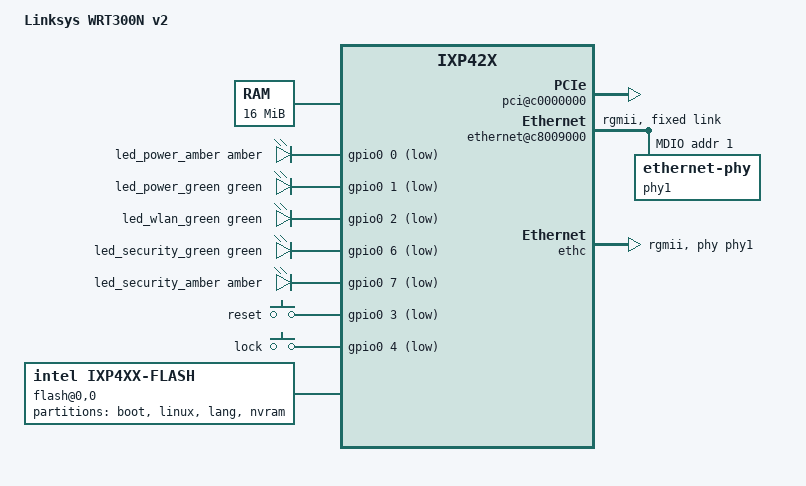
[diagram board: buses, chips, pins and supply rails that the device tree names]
// SPDX-License-Identifier: ISC
/*
 * Device Tree file for the IXP422-based Linksys WRT300N v2
 */

/dts-v1/;

#include "intel-ixp42x.dtsi"
#include <dt-bindings/input/input.h>
#include <dt-bindings/leds/common.h>

/ {
	model = "Linksys WRT300N v2";
	compatible = "linksys,wrt300v2", "intel,ixp42x";
	#address-cells = <1>;
	#size-cells = <1>;

	memory@0 {
		/* 16 MB SDRAM */
		device_type = "memory";
		reg = <0x00000000 0x01000000>;
	};

	chosen {
		bootargs = "console=ttyS0,115200n8";
		stdout-path = "uart1:115200n8";
	};

	aliases {
		/* These are switched around */
		serial0 = &uart1;
		serial1 = &uart0;
	};

	leds {
		compatible = "gpio-leds";
		led_power_amber: led-0 {
			color = <LED_COLOR_ID_AMBER>;
			function = LED_FUNCTION_POWER;
			gpios = <&gpio0 0 GPIO_ACTIVE_LOW>;
			default-state = "off";
		};
		led_power_green: led-1 {
			color = <LED_COLOR_ID_GREEN>;
			function = LED_FUNCTION_POWER;
			gpios = <&gpio0 1 GPIO_ACTIVE_LOW>;
			default-state = "on";
		};
		led_wlan_green: led-2 {
			color = <LED_COLOR_ID_GREEN>;
			function = LED_FUNCTION_WLAN;
			gpios = <&gpio0 2 GPIO_ACTIVE_LOW>;
			default-state = "off";
			linux,default-trigger = "phy0tx";
		};
		/* 3, 4 not used for LED */
		led_security_green: led-6 {
			color = <LED_COLOR_ID_GREEN>;
			function = LED_FUNCTION_WPS;
			gpios = <&gpio0 6 GPIO_ACTIVE_LOW>;
			default-state = "off";
		};
		led_security_amber: led-7 {
			color = <LED_COLOR_ID_AMBER>;
			function = LED_FUNCTION_WPS;
			gpios = <&gpio0 7 GPIO_ACTIVE_LOW>;
			default-state = "off";
		};
		/* 8, 9, 10, 11, 12, 13, 14, 15 not used for LED */
	};

	gpio_keys {
		compatible = "gpio-keys";

		button-reset {
			wakeup-source;
			linux,code = <KEY_RESTART>;
			label = "reset";
			gpios = <&gpio0 3 GPIO_ACTIVE_LOW>;
		};
		/*
		 * Turn on wireless security, I guess from way back when it
		 * wasn't compulsory.
		 */
		button-lock {
			wakeup-source;
			linux,code = <KEY_WLAN>;
			label = "lock";
			gpios = <&gpio0 4 GPIO_ACTIVE_LOW>;
		};
	};

	soc {
		bus@c4000000 {
			flash@0,0 {
				compatible = "intel,ixp4xx-flash", "cfi-flash";
				bank-width = <2>;
				/*
				 * 4 MB of Flash in 64 0x10000 sized blocks
				 * mapped in at CS0.
				 */
				reg = <0 0x00000000 0x400000>;

				/* Configure expansion bus to allow writes */
				intel,ixp4xx-eb-write-enable = <1>;

				/* TODO: The nvmem provider requires this, why? dtc complains */
				#address-cells = <1>;
				#size-cells = <1>;

				partitions {
					compatible = "fixed-partitions";
					/* Partition info from a boot log */
					#address-cells = <1>;
					#size-cells = <1>;
					partition@0 {
						label = "boot";
						reg = <0x0 0x60000>;
						read-only;

						nvmem-layout {
							compatible = "fixed-layout";
							#address-cells = <1>;
							#size-cells = <1>;

							macaddr: macaddr@5ffa0 {
								reg = <0x5ffa0 0x6>;
							};
						};
					};
					partition@60000 {
						label = "linux";
						reg = <0x60000 0x350000>;
						read-write;
					};
					partition@3b0000 {
						label = "lang";
						reg = <0x3b0000 0x40000>;
						read-only;
					};
					partition@3f0000 {
						label = "nvram";
						reg = <0x3f0000 0x10000>;
						read-only;
					};
				};
			};
		};

		pci@c0000000 {
			status = "okay";

			#interrupt-cells = <1>;
			interrupt-map-mask = <0xf800 0 0 7>;
			interrupt-map =
			/* IDSEL 1 */
			<0x0800 0 0 1 &gpio0 8 IRQ_TYPE_LEVEL_LOW>, /* INT A on slot 1 is irq 8 */
			<0x0800 0 0 2 &gpio0 8 IRQ_TYPE_LEVEL_LOW>, /* INT B on slot 1 is irq 8 */
			<0x0800 0 0 3 &gpio0 8 IRQ_TYPE_LEVEL_LOW>, /* INT C on slot 1 is irq 8 */
			<0x0800 0 0 4 &gpio0 8 IRQ_TYPE_LEVEL_LOW>, /* INT D on slot 1 is irq 8 */
			/* IDSEL 2 guess on IRQ */
			<0x1000 0 0 1 &gpio0 9 IRQ_TYPE_LEVEL_LOW>, /* INT A on slot 2 is irq 9 */
			<0x1000 0 0 2 &gpio0 9 IRQ_TYPE_LEVEL_LOW>, /* INT B on slot 2 is irq 9 */
			<0x1000 0 0 3 &gpio0 9 IRQ_TYPE_LEVEL_LOW>, /* INT C on slot 2 is irq 9 */
			<0x1000 0 0 4 &gpio0 9 IRQ_TYPE_LEVEL_LOW>; /* INT D on slot 2 is irq 9 */
		};

		/* EthB connected directly to the Marvell MV88E6060 DSA switch */
		ethernet@c8009000 {
			status = "okay";
			queue-rx = <&qmgr 3>;
			queue-txready = <&qmgr 20>;
			nvmem-cells = <&macaddr>;
			nvmem-cell-names = "mac-address";
			phy-mode = "rgmii";
			fixed-link {
				speed = <100>;
				full-duplex;
			};


			mdio {
				#address-cells = <1>;
				#size-cells = <0>;

				/* Realtek RTL8201CP used by the WAN port */
				phy1: ethernet-phy@1 {
					reg = <1>;
				};

				/* The switch uses MDIO addresses 16 thru 31 */
				switch@16 {
					compatible = "marvell,mv88e6060";
					status = "disabled";
					reg = <16>;

					ports {
						#address-cells = <1>;
						#size-cells = <0>;

						port@0 {
							reg = <0>;
							label = "lan1";
							// phy-handle = <&phy24>;
						};

						port@1 {
							reg = <1>;
							label = "lan2";
							// phy-handle = <&phy25>;
						};

						port@2 {
							reg = <2>;
							label = "lan3";
							// phy-handle = <&phy26>;
						};

						port@3 {
							reg = <3>;
							label = "lan4";
							// phy-handle = <&phy27>;
						};

						port@5 {
							/* Port 5 is the CPU port according to the MV88E6060 datasheet */
							reg = <5>;
							phy-mode = "rgmii-id";
							ethernet = <&ethc>;
							label = "cpu";
							fixed-link {
								speed = <100>;
								full-duplex;
							};
						};
					};
				};
			};
		};

		/* EthC LAN connected to the Realtek RTL8201 WAN PHY */
		ethc: ethernet@c800a000 {
			status = "okay";
			queue-rx = <&qmgr 4>;
			queue-txready = <&qmgr 21>;
			nvmem-cells = <&macaddr>;
			nvmem-cell-names = "mac-address";
			nvmem-mac-minor-offset = <1>;
			phy-mode = "rgmii";
			phy-handle = <&phy1>;
		};
	};
};
